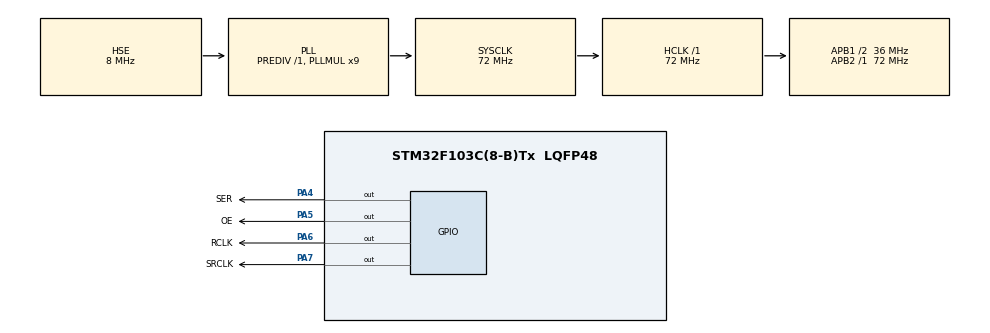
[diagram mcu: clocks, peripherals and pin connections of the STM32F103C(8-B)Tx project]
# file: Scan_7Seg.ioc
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Mcu.Family=STM32F1
Mcu.Name=STM32F103C(8-B)Tx
Mcu.Package=LQFP48
NVIC.PriorityGroup=NVIC_PRIORITYGROUP_4
PA13.Mode=Serial_Wire
PA13.Signal=SYS_JTMS-SWDIO
PA14.Mode=Serial_Wire
PA14.Signal=SYS_JTCK-SWCLK
PA4.GPIO_Label=SER
PA4.GPIO_ModeDefaultOutputPP=GPIO_MODE_OUTPUT_OD
PA4.GPIO_PuPd=GPIO_NOPULL
PA4.GPIO_Speed=GPIO_SPEED_FREQ_HIGH
PA4.Signal=GPIO_Output
PA5.GPIO_Label=OE
PA5.GPIO_ModeDefaultOutputPP=GPIO_MODE_OUTPUT_OD
PA5.GPIO_PuPd=GPIO_NOPULL
PA5.GPIO_Speed=GPIO_SPEED_FREQ_HIGH
PA5.Signal=GPIO_Output
PA6.GPIO_Label=RCLK
PA6.GPIO_ModeDefaultOutputPP=GPIO_MODE_OUTPUT_OD
PA6.GPIO_PuPd=GPIO_NOPULL
PA6.GPIO_Speed=GPIO_SPEED_FREQ_HIGH
PA6.Signal=GPIO_Output
PA7.GPIO_Label=SRCLK
PA7.GPIO_ModeDefaultOutputPP=GPIO_MODE_OUTPUT_OD
PA7.GPIO_PuPd=GPIO_NOPULL
PA7.GPIO_Speed=GPIO_SPEED_FREQ_HIGH
PA7.Signal=GPIO_Output
PD0-OSC_IN.Mode=HSE-External-Oscillator
PD0-OSC_IN.Signal=RCC_OSC_IN
PD1-OSC_OUT.Mode=HSE-External-Oscillator
PD1-OSC_OUT.Signal=RCC_OSC_OUT
ProjectManager.HeapSize=0x200
ProjectManager.StackSize=0x400
ProjectManager.TargetToolchain=STM32CubeIDE
RCC.AHBFreq_Value=72000000
RCC.APB1CLKDivider=RCC_HCLK_DIV2
RCC.APB1Freq_Value=36000000
RCC.APB1TimFreq_Value=72000000
RCC.APB2Freq_Value=72000000
RCC.APB2TimFreq_Value=72000000
RCC.HCLKFreq_Value=72000000
RCC.PLLMUL=RCC_PLL_MUL9
RCC.PLLSourceVirtual=RCC_PLLSOURCE_HSE
RCC.SYSCLKFreq_VALUE=72000000
RCC.SYSCLKSource=RCC_SYSCLKSOURCE_PLLCLK
RCC.USBFreq_Value=72000000
board=custom

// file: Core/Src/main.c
/* USER CODE BEGIN Header */
/**
  ******************************************************************************
  * @file           : main.c
  * @brief          : Main program body
  ******************************************************************************
  * @attention
  *
  * Copyright (c) 2023 STMicroelectronics.
  * All rights reserved.
  *
  * This software is licensed under terms that can be found in the LICENSE file
  * in the root directory of this software component.
  * If no LICENSE file comes with this software, it is provided AS-IS.
  *
  ******************************************************************************
  */
/* USER CODE END Header */
#include "main.h"

/* USER CODE BEGIN Includes */
#include <stdio.h>
/* USER CODE END Includes */

/* USER CODE BEGIN PTD */
typedef struct{
	uint16_t led[7];
} type_LED7SEG;
/* USER CODE END PTD */

/* USER CODE BEGIN PM */
#define SEGMENT_A	(1 << 0)
#define SEGMENT_B	(1 << 2)
#define SEGMENT_C	(1 << 4)
#define SEGMENT_D	(1 << 6)
#define SEGMENT_E	(1 << 7)
#define SEGMENT_F	(1 << 1)
#define SEGMENT_G	(1 << 3)
#define SEGMENT_DOT	(1 << 5)
/* USER CODE END PM */

/* USER CODE BEGIN PV */
type_LED7SEG S7seg = {0};
//7 segment code
const char code7seg[] = {0xD7, 0x14, 0xCD, 0x5D, 0x1E, 0x5B, 0xDB, 0x15, 0xDF, 0x5F};
/* USER CODE END PV */

void SystemClock_Config(void);
static void MX_GPIO_Init(void);
/* USER CODE BEGIN PFP */
void dichDuLieu74595(uint16_t);
void Scan7seg();
int _write(int file, char *ptr, int len);
/* USER CODE END PFP */

int main(void)
{
  /* USER CODE BEGIN 1 */
	uint32_t t = 0;
	uint32_t counter = 0;
  /* USER CODE END 1 */

  /* MCU Configuration--------------------------------------------------------*/

  /* Reset of all peripherals, Initializes the Flash interface and the Systick. */
  HAL_Init();

  /* Configure the system clock */
  SystemClock_Config();

  /* Initialize all configured peripherals */
  MX_GPIO_Init();
  /* USER CODE BEGIN 2 */

  S7seg.led[1] = m7d[2];
  S7seg.led[3] = m7d[2] | SEGMENT_DOT;
  S7seg.led[5] = m7d[2];

  /* USER CODE END 2 */

  /* Infinite loop */
  /* USER CODE BEGIN WHILE */
  while (1)
  {

	  Scan7seg();
    /* USER CODE END WHILE */

    /* USER CODE BEGIN 3 */
	  if(HAL_GetTick() - t >= 10){
		  t = HAL_GetTick();
		  counter++;
		  counter %= 10000;
	  }
  }
  /* USER CODE END 3 */
}

void SystemClock_Config(void)
{
  RCC_OscInitTypeDef RCC_OscInitStruct = {0};
  RCC_ClkInitTypeDef RCC_ClkInitStruct = {0};

  /** Initializes the RCC Oscillators according to the specified parameters
  * in the RCC_OscInitTypeDef structure.
  */
  RCC_OscInitStruct.OscillatorType = RCC_OSCILLATORTYPE_HSE;
  RCC_OscInitStruct.HSEState = RCC_HSE_ON;
  RCC_OscInitStruct.HSEPredivValue = RCC_HSE_PREDIV_DIV1;
  RCC_OscInitStruct.HSIState = RCC_HSI_ON;
  RCC_OscInitStruct.PLL.PLLState = RCC_PLL_ON;
  RCC_OscInitStruct.PLL.PLLSource = RCC_PLLSOURCE_HSE;
  RCC_OscInitStruct.PLL.PLLMUL = RCC_PLL_MUL9;
  if (HAL_RCC_OscConfig(&RCC_OscInitStruct) != HAL_OK)
  {
    Error_Handler();
  }

  /** Initializes the CPU, AHB and APB buses clocks
  */
  RCC_ClkInitStruct.ClockType = RCC_CLOCKTYPE_HCLK|RCC_CLOCKTYPE_SYSCLK
                              |RCC_CLOCKTYPE_PCLK1|RCC_CLOCKTYPE_PCLK2;
  RCC_ClkInitStruct.SYSCLKSource = RCC_SYSCLKSOURCE_PLLCLK;
  RCC_ClkInitStruct.AHBCLKDivider = RCC_SYSCLK_DIV1;
  RCC_ClkInitStruct.APB1CLKDivider = RCC_HCLK_DIV2;
  RCC_ClkInitStruct.APB2CLKDivider = RCC_HCLK_DIV1;

  if (HAL_RCC_ClockConfig(&RCC_ClkInitStruct, FLASH_LATENCY_2) != HAL_OK)
  {
    Error_Handler();
  }
}

static void MX_GPIO_Init(void)
{
  GPIO_InitTypeDef GPIO_InitStruct = {0};

  /* GPIO Ports Clock Enable */
  __HAL_RCC_GPIOD_CLK_ENABLE();
  __HAL_RCC_GPIOA_CLK_ENABLE();

  /*Configure GPIO pin Output Level */
  HAL_GPIO_WritePin(GPIOA, SER_Pin|OE_Pin|RCLK_Pin|SRCLK_Pin, GPIO_PIN_RESET);

  /*Configure GPIO pins : SER_Pin OE_Pin RCLK_Pin SRCLK_Pin */
  GPIO_InitStruct.Pin = SER_Pin|OE_Pin|RCLK_Pin|SRCLK_Pin;
  GPIO_InitStruct.Mode = GPIO_MODE_OUTPUT_OD;
  GPIO_InitStruct.Pull = GPIO_NOPULL;
  GPIO_InitStruct.Speed = GPIO_SPEED_FREQ_HIGH;
  HAL_GPIO_Init(GPIOA, &GPIO_InitStruct);

}

/* USER CODE BEGIN 4 */

void dichDuLieu74595(uint16_t data){
	//xuất bit cao nhất trước
	for (uint8_t i = 0; i < 16; i++) {
		HAL_GPIO_WritePin(SER_GPIO_Port, SER_Pin, (data >> i) & 0x01);
		//nhịp 1 xung cạnh xuống đưa dữ liệu vào tầng lưu trữ
		HAL_GPIO_WritePin(SRCLK_GPIO_Port, SRCLK_Pin, 0);
		HAL_GPIO_WritePin(SRCLK_GPIO_Port, SRCLK_Pin, 1);
	}
	HAL_GPIO_WritePin(RCLK_GPIO_Port, RCLK_Pin, 0);
	HAL_GPIO_WritePin(RCLK_GPIO_Port, RCLK_Pin, 1);
}
void Scan7seg(){
	static uint32_t T_delay = 0;
	static uint8_t index = 0;
	if(index < 7){
		if(HAL_GetTick() - T_delay >= 1) {
			T_delay = HAL_GetTick();
			dichDuLieu74595((0x0100 << index) | S7seg.led[index]);
			index++;
		}
	}
	else{
		index = 0;
	}
}
/* USER CODE END 4 */

void Error_Handler(void)
{
  __disable_irq();
  while (1)
  {
  }
}
